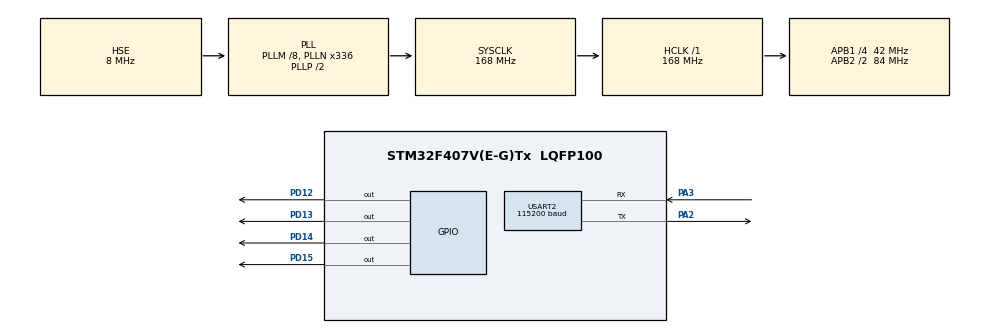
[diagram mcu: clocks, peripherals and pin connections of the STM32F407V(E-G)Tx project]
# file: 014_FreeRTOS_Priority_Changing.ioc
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FREERTOS.Tasks01=defaultTask,24,128,StartDefaultTask,Default,NULL,Dynamic,NULL,NULL
Mcu.Family=STM32F4
Mcu.Name=STM32F407V(E-G)Tx
Mcu.Package=LQFP100
NVIC.PriorityGroup=NVIC_PRIORITYGROUP_4
NVIC.TIM8_TRG_COM_TIM14_IRQn=true\:15\:0\:false\:false\:true\:false\:false\:true\:true
NVIC.TimeBase=TIM8_TRG_COM_TIM14_IRQn
NVIC.TimeBaseIP=TIM14
NVIC.USART2_IRQn=true\:5\:0\:false\:false\:true\:true\:true\:true\:true
PA2.Mode=Asynchronous
PA2.Signal=USART2_TX
PA3.Mode=Asynchronous
PA3.Signal=USART2_RX
PD12.Signal=GPIO_Output
PD13.Signal=GPIO_Output
PD14.Signal=GPIO_Output
PD15.Signal=GPIO_Output
PH0-OSC_IN.Mode=HSE-External-Oscillator
PH0-OSC_IN.Signal=RCC_OSC_IN
PH1-OSC_OUT.Mode=HSE-External-Oscillator
PH1-OSC_OUT.Signal=RCC_OSC_OUT
ProjectManager.HeapSize=0x200
ProjectManager.StackSize=0x400
ProjectManager.TargetToolchain=STM32CubeIDE
RCC.48MHZClocksFreq_Value=48000000
RCC.AHBFreq_Value=168000000
RCC.APB1CLKDivider=RCC_HCLK_DIV4
RCC.APB1Freq_Value=42000000
RCC.APB1TimFreq_Value=84000000
RCC.APB2CLKDivider=RCC_HCLK_DIV2
RCC.APB2Freq_Value=84000000
RCC.APB2TimFreq_Value=168000000
RCC.CortexFreq_Value=168000000
RCC.HCLKFreq_Value=168000000
RCC.HSE_VALUE=8000000
RCC.HSI_VALUE=16000000
RCC.LSE_VALUE=32768
RCC.PLLM=8
RCC.PLLN=336
RCC.PLLQ=7
RCC.PLLSourceVirtual=RCC_PLLSOURCE_HSE
RCC.SYSCLKFreq_VALUE=168000000
RCC.SYSCLKSource=RCC_SYSCLKSOURCE_PLLCLK
RCC.VCOOutputFreq_Value=336000000
USART2.BaudRate=115200
USART2.VirtualMode=VM_ASYNC
VP_FREERTOS_VS_CMSIS_V2.Mode=CMSIS_V2
VP_SYS_VS_tim14.Mode=TIM14
board=STM32F407G-DISC1

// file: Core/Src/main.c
/* USER CODE BEGIN Header */
/**
  ******************************************************************************
  * @file           : main.c
  * @brief          : Main program body
  ******************************************************************************
  * @attention
  *
  * Copyright (c) 2023 STMicroelectronics.
  * All rights reserved.
  *
  * This software is licensed under terms that can be found in the LICENSE file
  * in the root directory of this software component.
  * If no LICENSE file comes with this software, it is provided AS-IS.
  *
  ******************************************************************************
  */
/* USER CODE END Header */
#include "main.h"
/* USER CODE BEGIN Includes */
#include "FreeRTOS.h"
#include "task.h"
#include <string.h>
/* USER CODE END Includes */

UART_HandleTypeDef huart2;

/* Definitions for defaultTask */

/* USER CODE BEGIN PV */
TaskHandle_t xTask2Handle = NULL;
/* USER CODE END PV */

void SystemClock_Config(void);
static void MX_GPIO_Init(void);
static void MX_USART2_UART_Init(void);

/* USER CODE BEGIN 0 */
void vTask1( void *pvParameters )
{
	 UBaseType_t uxPriority;
	 /* This task will always run before Task 2 as it is created with the higher
	 priority. Neither Task 1 nor Task 2 ever block so both will always be in
	 either the Running or the Ready state.
	 Query the priority at which this task is running - passing in NULL means
	 "return the calling task’s priority". */
	 const char *TaskText = "Task 1 is running\r\n";
	 const char *priorityText = "About to raise the Task 2 priority\r\n";

	 uxPriority = uxTaskPriorityGet( NULL );
	 for( ;; )
	 {
		 /* Print out the name of this task. */
		 HAL_UART_Transmit(&huart2, (uint8_t*)TaskText, strlen(TaskText), HAL_MAX_DELAY);
		 /* Setting the Task 2 priority above the Task 1 priority will cause
		 Task 2 to immediately start running (as then Task 2 will have the higher
		 priority of the two created tasks). Note the use of the handle to task
		 2 (xTask2Handle) in the call to vTaskPrioritySet(). Listing 35 shows how
		 the handle was obtained. */
		 HAL_UART_Transmit(&huart2, (uint8_t *)priorityText, strlen(priorityText), HAL_MAX_DELAY);
		 vTaskPrioritySet( xTask2Handle, ( uxPriority + 1 ) );
		 /* Task 1 will only run when it has a priority higher than Task 2.
		 Therefore, for this task to reach this point, Task 2 must already have
		 executed and set its priority back down to below the priority of this
		 task. */
	 }
}

void vTask2( void *pvParameters )
{
	 UBaseType_t uxPriority;
	 /* Task 1 will always run before this task as Task 1 is created with the
	 higher priority. Neither Task 1 nor Task 2 ever block so will always be
	 in either the Running or the Ready state.
	 Query the priority at which this task is running - passing in NULL means
	 "return the calling task’s priority". */
	 const char *TaskText = "Task 2 Running!\r\n";
	 const char *priorityText = "About to lower the Task 2 priority\r\n";

	 uxPriority = uxTaskPriorityGet( NULL );

	 for( ;; )
	 {
		 /* For this task to reach this point Task 1 must have already run and
		 set the priority of this task higher than its own.
		 Print out the name of this task. */
		 HAL_UART_Transmit(&huart2, (uint8_t *)TaskText, strlen(TaskText), HAL_MAX_DELAY);
		 /* Set the priority of this task back down to its original value.
		 Passing in NULL as the task handle means "change the priority of the
		 calling task". Setting the priority below that of Task 1 will cause
		 Task 1 to immediately start running again – pre-empting this task. */
		 HAL_UART_Transmit(&huart2, (uint8_t *)priorityText, strlen(priorityText), HAL_MAX_DELAY);
		 vTaskPrioritySet( NULL, ( uxPriority - 2 ) );
	 }
}
/* USER CODE END 0 */

int main(void)
{

  /* MCU Configuration--------------------------------------------------------*/

  /* Reset of all peripherals, Initializes the Flash interface and the Systick. */
  HAL_Init();

  /* Configure the system clock */
  SystemClock_Config();

  /* Initialize all configured peripherals */
  MX_GPIO_Init();
  MX_USART2_UART_Init();
  /* USER CODE BEGIN 2 */
  /* Create the first task at priority 2. The task parameter is not used
   and set to NULL. The task handle is also not used so is also set to NULL. */
   xTaskCreate( vTask1, "Task 1", 1000, NULL, 2, NULL );
   /* The task is created at priority 2 ______^. */
   /* Create the second task at priority 1 - which is lower than the priority
   given to Task 1. Again the task parameter is not used so is set to NULL -
   BUT this time the task handle is required so the address of xTask2Handle
   is passed in the last parameter. */
   xTaskCreate( vTask2, "Task 2", 1000, NULL, 1, &xTask2Handle );
   /* The task handle is the last parameter _____^^^^^^^^^^^^^ */
   /* Start the scheduler so the tasks start executing. */
   vTaskStartScheduler();

   /* If all is well then main() will never reach here as the scheduler will
   now be running the tasks. If main() does reach here then it is likely there
   was insufficient heap memory available for the idle task to be created.
   Chapter 2 provides more information on heap memory management. */
  /* USER CODE END 2 */

  /* Init scheduler */

  /* Create the thread(s) */
  /* creation of defaultTask */

  /* Start scheduler */

  /* We should never get here as control is now taken by the scheduler */
  /* Infinite loop */
  while (1)
  {

  }
}

void SystemClock_Config(void)
{
  RCC_OscInitTypeDef RCC_OscInitStruct = {0};
  RCC_ClkInitTypeDef RCC_ClkInitStruct = {0};

  /** Configure the main internal regulator output voltage
  */
  __HAL_RCC_PWR_CLK_ENABLE();
  __HAL_PWR_VOLTAGESCALING_CONFIG(PWR_REGULATOR_VOLTAGE_SCALE1);

  /** Initializes the RCC Oscillators according to the specified parameters
  * in the RCC_OscInitTypeDef structure.
  */
  RCC_OscInitStruct.OscillatorType = RCC_OSCILLATORTYPE_HSE;
  RCC_OscInitStruct.HSEState = RCC_HSE_ON;
  RCC_OscInitStruct.PLL.PLLState = RCC_PLL_ON;
  RCC_OscInitStruct.PLL.PLLSource = RCC_PLLSOURCE_HSE;
  RCC_OscInitStruct.PLL.PLLM = 8;
  RCC_OscInitStruct.PLL.PLLN = 336;
  RCC_OscInitStruct.PLL.PLLP = RCC_PLLP_DIV2;
  RCC_OscInitStruct.PLL.PLLQ = 7;
  if (HAL_RCC_OscConfig(&RCC_OscInitStruct) != HAL_OK)
  {
    Error_Handler();
  }

  /** Initializes the CPU, AHB and APB buses clocks
  */
  RCC_ClkInitStruct.ClockType = RCC_CLOCKTYPE_HCLK|RCC_CLOCKTYPE_SYSCLK
                              |RCC_CLOCKTYPE_PCLK1|RCC_CLOCKTYPE_PCLK2;
  RCC_ClkInitStruct.SYSCLKSource = RCC_SYSCLKSOURCE_PLLCLK;
  RCC_ClkInitStruct.AHBCLKDivider = RCC_SYSCLK_DIV1;
  RCC_ClkInitStruct.APB1CLKDivider = RCC_HCLK_DIV4;
  RCC_ClkInitStruct.APB2CLKDivider = RCC_HCLK_DIV2;

  if (HAL_RCC_ClockConfig(&RCC_ClkInitStruct, FLASH_LATENCY_5) != HAL_OK)
  {
    Error_Handler();
  }
}

static void MX_USART2_UART_Init(void)
{

  huart2.Instance = USART2;
  huart2.Init.BaudRate = 115200;
  huart2.Init.WordLength = UART_WORDLENGTH_8B;
  huart2.Init.StopBits = UART_STOPBITS_1;
  huart2.Init.Parity = UART_PARITY_NONE;
  huart2.Init.Mode = UART_MODE_TX_RX;
  huart2.Init.HwFlowCtl = UART_HWCONTROL_NONE;
  huart2.Init.OverSampling = UART_OVERSAMPLING_16;
  if (HAL_UART_Init(&huart2) != HAL_OK)
  {
    Error_Handler();
  }

}

static void MX_GPIO_Init(void)
{
  GPIO_InitTypeDef GPIO_InitStruct = {0};

  /* GPIO Ports Clock Enable */
  __HAL_RCC_GPIOH_CLK_ENABLE();
  __HAL_RCC_GPIOA_CLK_ENABLE();
  __HAL_RCC_GPIOD_CLK_ENABLE();

  /*Configure GPIO pin Output Level */
  HAL_GPIO_WritePin(GPIOD, GPIO_PIN_12|GPIO_PIN_13|GPIO_PIN_14|GPIO_PIN_15, GPIO_PIN_RESET);

  /*Configure GPIO pins : PD12 PD13 PD14 PD15 */
  GPIO_InitStruct.Pin = GPIO_PIN_12|GPIO_PIN_13|GPIO_PIN_14|GPIO_PIN_15;
  GPIO_InitStruct.Mode = GPIO_MODE_OUTPUT_PP;
  GPIO_InitStruct.Pull = GPIO_NOPULL;
  GPIO_InitStruct.Speed = GPIO_SPEED_FREQ_LOW;
  HAL_GPIO_Init(GPIOD, &GPIO_InitStruct);

}

void HAL_TIM_PeriodElapsedCallback(TIM_HandleTypeDef *htim)
{
  if (htim->Instance == TIM14) {
    HAL_IncTick();
  }
}

void Error_Handler(void)
{
  __disable_irq();
  while (1)
  {
  }
}
